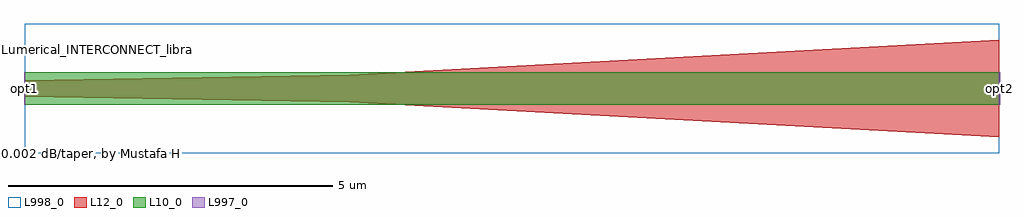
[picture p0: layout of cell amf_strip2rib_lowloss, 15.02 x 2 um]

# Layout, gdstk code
import gdstk
lib = gdstk.Library(unit=1e-6, precision=1e-09)
def R(c, l, rs):  # rectangles x0, y0, x1, y1
    for r in rs: c.add(gdstk.rectangle(r[:2], r[2:], *l))
def P(c, l, *ps):  # polygons
    for p in ps: c.add(gdstk.Polygon(p, *l))
L10_0 = (10, 0)
L12_0 = (12, 0)
L997_0 = (997, 0)
L998_0 = (998, 0)

amf_strip2rib_lowloss = lib.new_cell('amf_strip2rib_lowloss')
R(amf_strip2rib_lowloss, L10_0, [(0,-0.25,15,0.25)])
P(amf_strip2rib_lowloss, L12_0, [(15,-0.75),(5,-0.21),(5,0.21),(15,0.75)],
  [(5,-0.21),(0,-0.125),(0,0.125),(5,0.21)])
R(amf_strip2rib_lowloss, L998_0, [(0,-1,15,1)])
amf_strip2rib_lowloss.add(gdstk.FlexPath([(14.99,0),(15.01,0)], 0.5, ends="flush", simple_path=True, layer=997, datatype=0))  # L997_0
amf_strip2rib_lowloss.add(gdstk.FlexPath([(0.01,0),(-0.01,0)], 0.5, ends="flush", simple_path=True, layer=997, datatype=0))  # L997_0
amf_strip2rib_lowloss.add(gdstk.Label('opt2', (15,0), layer=997, texttype=0))
amf_strip2rib_lowloss.add(gdstk.Label('opt1', (0,0), layer=997, texttype=0))
amf_strip2rib_lowloss.add(gdstk.Label('0.002 dB/taper, by Mustafa Hammood', (0,-1), layer=998, texttype=0))
amf_strip2rib_lowloss.add(gdstk.Label('Lumerical_INTERCONNECT_library=Design kits/SiEPIC_AMF', (0,0.6), layer=998, texttype=0))
amf_strip2rib_lowloss.add(gdstk.Label('Component=amf_strip2rib', (0,0), layer=998, texttype=0))

lib.write_gds('amf_strip2rib_lowloss.gds')
